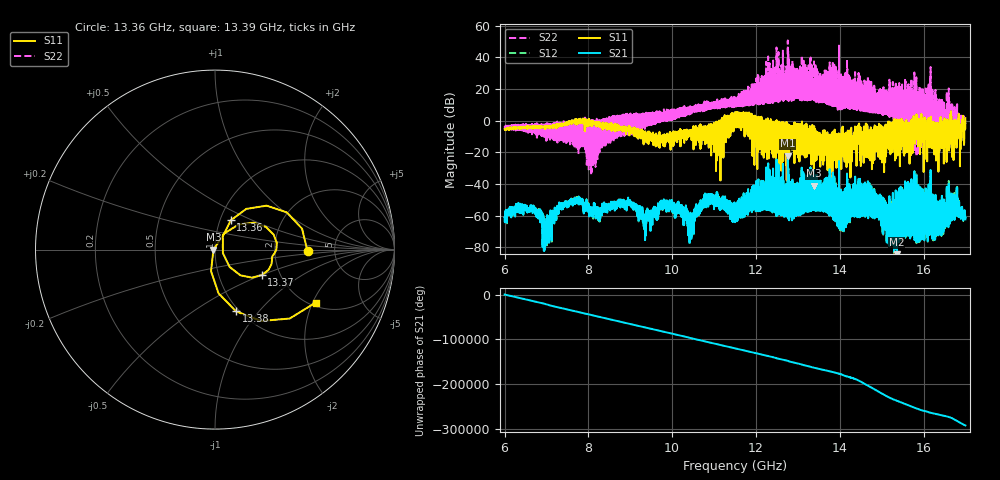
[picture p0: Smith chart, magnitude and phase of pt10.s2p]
#  HZ  S  RI  R  50.00
! Rohde & Schwarz Vector Network Analyzer
! Rohde-Schwarz,ZNA67-2Port,1332450062101215,3.01
! Created: UTC 10/15/2026, 12:49:16 PM
! freq[Hz]  re:S11  im:S11  re:S21  im:S21  re:S12  im:S12  re:S22  im:S22
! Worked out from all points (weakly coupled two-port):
!   11001 points, 6 GHz to 17 GHz, reference 50 ohm
!   highest |S21| = -22.24 dB at 12.76 GHz (marker M1); lowest = -85.6 dB at 15.37 GHz (marker M2)
!   lowest |S11| = -41.2 dB at 13.38 GHz (marker M3), VSWR 1.02, Z = 49.1 - j0.11 ohm
!   |S11| at or under -10 dB: 13.55583 GHz to 13.59466 GHz (38.83 MHz wide, 0.286 % of centre); 13.65154 GHz to 13.69043 GHz (38.88 MHz wide, 0.284 % of centre); 13.71943 GHz to 13.77009 GHz (50.65 MHz wide, 0.369 % of centre) (the widest 3 of 476)
!   |S22| runs from -34.0 to 50.7 dB; largest |S21 - S12| = 0.0069
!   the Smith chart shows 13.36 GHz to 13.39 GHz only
!   S11 on the Smith chart (normalised r, x): 13.36 GHz: 3.13, -0.08; 13.36 GHz: 1.12, +0.38; 13.37 GHz: 1.61, -0.50; 13.38 GHz: 0.97, -0.77; 13.39 GHz: 2.13, -2.11
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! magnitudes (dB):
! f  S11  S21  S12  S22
! 6 GHz  -5.3  -61.0  -60.5  -4.5
! 6.667 GHz  -3.9  -54.5  -54.6  -7.0
! 6.985 GHz  -4.0  -71.2  -71.7  -2.7
! 7.341 GHz  -2.2  -55.9  -55.6  -6.6
! 7.834 GHz  -0.6  -52.0  -51.7  -11.3
! 9.667 GHz  -9.8  -56.7  -56.8  -0.5
! 10.42 GHz  -6.5  -73.7  -74.0  4.9
! 10.92 GHz  -11.9  -51.2  -51.3  8.1
! 11.5 GHz  4.8  -58.5  -58.2  10.0
! 12.76 GHz  -11.4  -22.2  -22.5  50.7
! 13.33 GHz  -6.4  -52.5  -52.5  16.7
! 13.36 GHz  -5.8  -51.2  -51.2  18.5
! 13.36 GHz  -14.7  -43.6  -43.9  26.1
! 13.37 GHz  -10.6  -46.4  -46.1  23.9
! 13.38 GHz  -41.2  -55.7  -55.9  13.5
! 13.38 GHz  -8.8  -48.1  -48.4  20.9
! 13.39 GHz  -4.0  -54.5  -54.5  13.9
! 14.04 GHz  -8.4  -65.4  -65.4  8.7
! 14.86 GHz  -6.5  -58.8  -58.6  4.5
! 15.17 GHz  -9.4  -72.2  -73.8  7.1
! 15.37 GHz  -9.1  -85.6  -84.7  -0.3
! 17 GHz  1.6  -62.4  -61.7  -1.5
